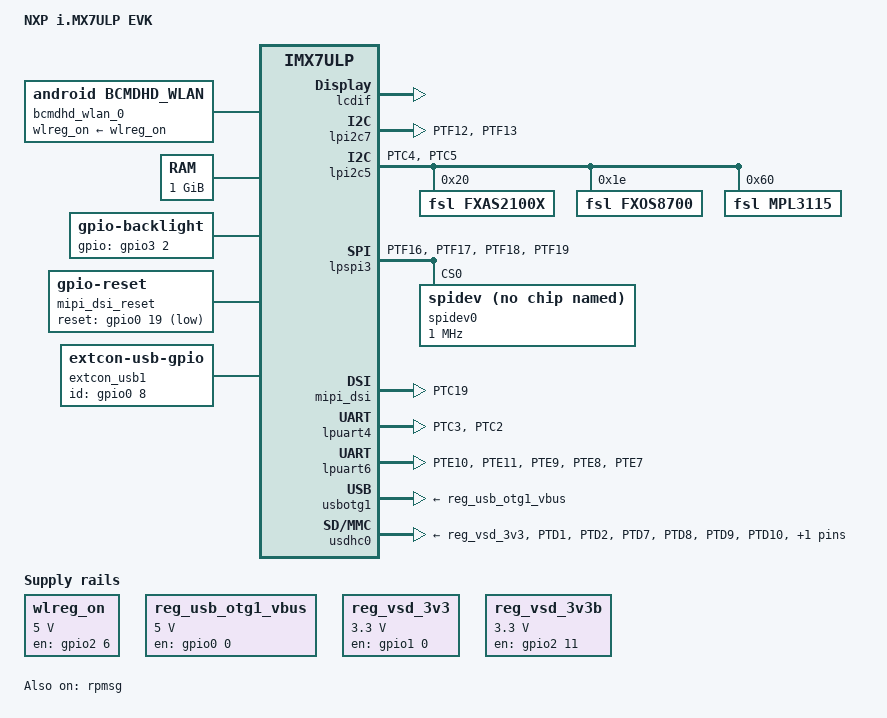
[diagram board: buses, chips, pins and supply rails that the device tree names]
/*
 * Copyright 2016 Freescale Semiconductor, Inc.
 *
 * This program is free software; you can redistribute it and/or modify
 * it under the terms of the GNU General Public License version 2 as
 * published by the Free Software Foundation.
 */

/dts-v1/;

#include "imx7ulp.dtsi"

/ {
	model = "NXP i.MX7ULP EVK";
	compatible = "fsl,imx7ulp-evk", "fsl,imx7ulp", "Generic DT based system";

	chosen {
		bootargs = "console=ttyLP0,115200 earlycon=lpuart32,0x402D0010,115200";
		stdout-path = &lpuart4;
	};

	bcmdhd_wlan_0: bcmdhd_wlan@0 {
		compatible = "android,bcmdhd_wlan";
		wlreg_on-supply = <&wlreg_on>;
		bcmdhd_fw = "/lib/firmware/bcm/1DX_BCM4343W/fw_bcmdhd.bin";
		bcmdhd_nv = "/lib/firmware/bcm/1DX_BCM4343W/bcmdhd.1DX.SDIO.cal";
	};

	memory {
		device_type = "memory";
		reg = <0x60000000 0x40000000>;
	};

	backlight {
		compatible = "gpio-backlight";
		pinctrl-names = "default";
		pinctrl-0 = <&pinctrl_backlight>;
		gpios = <&gpio3 2 GPIO_ACTIVE_HIGH>;
		default-on;
		status = "okay";
	};

	mipi_dsi_reset: mipi-dsi-reset {
		compatible = "gpio-reset";
		reset-gpios = <&gpio0 19 GPIO_ACTIVE_LOW>;
		reset-delay-us = <1000>;
		#reset-cells = <0>;
	};

	regulators {
		compatible = "simple-bus";
		#address-cells = <1>;
		#size-cells = <0>;

		wlreg_on: fixedregulator@100 {
			compatible = "regulator-fixed";
			regulator-min-microvolt = <5000000>;
			regulator-max-microvolt = <5000000>;
			regulator-name = "wlreg_on";
			gpio = <&gpio2 6 GPIO_ACTIVE_HIGH>;
			startup-delay-us = <100>;
			enable-active-high;
		};

		reg_usb_otg1_vbus: regulator@0 {
			compatible = "regulator-fixed";
			reg = <0>;
			pinctrl-names = "default";
			pinctrl-0 = <&pinctrl_usb_otg1>;
			regulator-name = "usb_otg1_vbus";
			regulator-min-microvolt = <5000000>;
			regulator-max-microvolt = <5000000>;
			gpio = <&gpio0 0 GPIO_ACTIVE_HIGH>;
			enable-active-high;
		};

		reg_vsd_3v3: regulator@1 {
			compatible = "regulator-fixed";
			reg = <1>;
			regulator-name = "VSD_3V3";
			regulator-min-microvolt = <3300000>;
			regulator-max-microvolt = <3300000>;
			gpio = <&gpio1 0 GPIO_ACTIVE_HIGH>;
			enable-active-high;
		};

		reg_vsd_3v3b: regulator@2 {
			compatible = "regulator-fixed";
			reg = <2>;
			regulator-name = "VSD_3V3B";
			regulator-min-microvolt = <3300000>;
			regulator-max-microvolt = <3300000>;
			gpio = <&gpio2 11 GPIO_ACTIVE_HIGH>;
			enable-active-high;
		};
	};

	extcon_usb1: extcon_usb1 {
		compatible = "linux,extcon-usb-gpio";
		id-gpio = <&gpio0 8 GPIO_ACTIVE_HIGH>;
		pinctrl-names = "default";
		pinctrl-0 = <&pinctrl_extcon_usb1>;
	};

	pf1550-rpmsg {
		compatible = "fsl,pf1550-rpmsg";
		sw1_reg: SW1 {
				regulator-name = "SW1";
				regulator-min-microvolt = <600000>;
				regulator-max-microvolt = <1387500>;
				regulator-boot-on;
				regulator-always-on;
		};

		sw2_reg: SW2 {
				regulator-name = "SW2";
				regulator-min-microvolt = <600000>;
				regulator-max-microvolt = <1387500>;
				regulator-boot-on;
				regulator-always-on;
		};

		sw3_reg: SW3 {
				regulator-name = "SW3";
				regulator-min-microvolt = <1800000>;
				regulator-max-microvolt = <3300000>;
				regulator-boot-on;
				regulator-always-on;
		};

		vref_reg: VREFDDR {
				regulator-name = "VREFDDR";
				regulator-min-microvolt = <1200000>;
				regulator-max-microvolt = <1200000>;
				regulator-boot-on;
				regulator-always-on;
		};

		vldo1_reg: LDO1 {
				regulator-name = "LDO1";
				regulator-min-microvolt = <750000>;
				regulator-max-microvolt = <3300000>;
				regulator-always-on;
		};

		vldo2_reg: LDO2 {
				regulator-name = "LDO2";
				regulator-min-microvolt = <1800000>;
				regulator-max-microvolt = <3300000>;
				regulator-always-on;
		};

		vldo3_reg: LDO3 {
				regulator-name = "LDO3";
				regulator-min-microvolt = <750000>;
				regulator-max-microvolt = <3300000>;
				regulator-always-on;
		};
	};
};

&iomuxc1 {
	pinctrl-names = "default";
	pinctrl-0 = <&pinctrl_hog_1>;

	imx7ulp-evk {
		pinctrl_hog_1: hoggrp-1 {
			fsl,pins = <
				ULP1_PAD_PTC10__PTC10		0x30100		/* USDHC0 CD */
				ULP1_PAD_PTC1__PTC1		0x20100
				ULP1_PAD_PTD0__PTD0		0x30100		/* USDHC0 RST */
				ULP1_PAD_PTE13__PTE13		0x30103		/* USDHC1 CD */
				ULP1_PAD_PTE12__PTE12		0x30103		/* USDHC1 WP */
				ULP1_PAD_PTE14__SDHC1_VS	0x843		/* USDHC1 VSEL */
			>;
		};

		pinctrl_backlight: backlight_grp {
			fsl,pins = <
				ULP1_PAD_PTF2__PTF2		0x20100
			>;
		};

		pinctrl_lpi2c5: lpi2c5grp {
			fsl,pins = <
				ULP1_PAD_PTC4__LPI2C5_SCL       0x527
				ULP1_PAD_PTC5__LPI2C5_SDA       0x527
			>;
		};

		pinctrl_mipi_dsi_reset: mipi_dsi_reset_grp {
			fsl,pins = <
				ULP1_PAD_PTC19__PTC19		0x20103
			>;
		};

		pinctrl_lpuart4: lpuart4grp {
			fsl,pins = <
				ULP1_PAD_PTC3__LPUART4_RX	0x400
				ULP1_PAD_PTC2__LPUART4_TX	0x400
			>;
		};

		pinctrl_lpuart6: lpuart6grp {
			fsl,pins = <
				ULP1_PAD_PTE10__LPUART6_TX	0x400
				ULP1_PAD_PTE11__LPUART6_RX	0x400
				ULP1_PAD_PTE9__LPUART6_RTS_B	0x400
				ULP1_PAD_PTE8__LPUART6_CTS_B	0x400
				ULP1_PAD_PTE7__PTE7		0x00 /* BT_REG_ON */
			>;
		};

		pinctrl_lpuart7: lpuart7grp {
			fsl,pins = <
				ULP1_PAD_PTF14__LPUART7_TX	0x400
				ULP1_PAD_PTF15__LPUART7_RX	0x400
				ULP1_PAD_PTF13__LPUART7_RTS_B	0x400
				ULP1_PAD_PTF12__LPUART7_CTS_B	0x400
			>;
		};

		pinctrl_usdhc0: usdhc0grp {
			fsl,pins = <
				ULP1_PAD_PTD1__SDHC0_CMD	0x843
				ULP1_PAD_PTD2__SDHC0_CLK	0x10843
				ULP1_PAD_PTD7__SDHC0_D3		0x843
				ULP1_PAD_PTD8__SDHC0_D2		0x843
				ULP1_PAD_PTD9__SDHC0_D1		0x843
				ULP1_PAD_PTD10__SDHC0_D0	0x843
			>;
		};

		pinctrl_usdhc0_8bit: usdhc0grp_8bit {
			fsl,pins = <
				ULP1_PAD_PTD1__SDHC0_CMD	0x843
				ULP1_PAD_PTD2__SDHC0_CLK	0x843
				ULP1_PAD_PTD3__SDHC0_D7		0x843
				ULP1_PAD_PTD4__SDHC0_D6		0x843
				ULP1_PAD_PTD5__SDHC0_D5		0x843
				ULP1_PAD_PTD6__SDHC0_D4		0x843
				ULP1_PAD_PTD7__SDHC0_D3		0x843
				ULP1_PAD_PTD8__SDHC0_D2		0x843
				ULP1_PAD_PTD9__SDHC0_D1		0x843
				ULP1_PAD_PTD10__SDHC0_D0	0x843
			>;
		};

		pinctrl_lpi2c7: lpi2c7grp {
			fsl,pins = <
				ULP1_PAD_PTF12__LPI2C7_SCL	0x527
				ULP1_PAD_PTF13__LPI2C7_SDA	0x527
			>;
		};

		pinctrl_lpspi3: lpspi3grp {
			fsl,pins = <
				ULP1_PAD_PTF16__LPSPI3_SIN      0x300
				ULP1_PAD_PTF17__LPSPI3_SOUT     0x300
				ULP1_PAD_PTF18__LPSPI3_SCK      0x300
				ULP1_PAD_PTF19__LPSPI3_PCS0     0x300
			>;
		};

		pinctrl_usb_otg1: usbotg1grp {
			fsl,pins = <
				ULP1_PAD_PTC0__PTC0		0x30100
			>;
		};

		pinctrl_extcon_usb1: extcon1grp {
			fsl,pins = <
				ULP1_PAD_PTC8__PTC8		0x30103
			>;
		};

		pinctrl_usdhc1: usdhc1grp {
			fsl,pins = <
				ULP1_PAD_PTE3__SDHC1_CMD	0x843
				ULP1_PAD_PTE2__SDHC1_CLK	0x843
				ULP1_PAD_PTE1__SDHC1_D0		0x843
				ULP1_PAD_PTE0__SDHC1_D1		0x843
				ULP1_PAD_PTE5__SDHC1_D2		0x843
				ULP1_PAD_PTE4__SDHC1_D3		0x843
			>;
		};

		pinctrl_usdhc1_rst: usdhc1grp_rst {
			fsl,pins = <
				ULP1_PAD_PTE11__PTE11			0x30100	/* USDHC1 RST */
			>;
		};

		pinctrl_wifi: wifigrp {
			fsl,pins = <
				ULP1_PAD_PTE6__PTE6		0x43 /* WL_REG_ON */
			>;
		};
	};
};

&lcdif {
	status = "okay";
	disp-dev = "mipi_dsi_northwest";
	display = <&display0>;

	display0: display {
		bits-per-pixel = <16>;
		bus-width = <24>;

		display-timings {
			native-mode = <&timing0>;
			timing0: timing0 {
			clock-frequency = <9200000>;
			hactive = <480>;
			vactive = <272>;
			hfront-porch = <8>;
			hback-porch = <4>;
			hsync-len = <41>;
			vback-porch = <2>;
			vfront-porch = <4>;
			vsync-len = <10>;

			hsync-active = <0>;
			vsync-active = <0>;
			de-active = <1>;
			pixelclk-active = <0>;
			};
		};
	};
};

&lpi2c7 {
	#address-cells = <1>;
	#size-cells = <0>;
	pinctrl-names = "default";
	pinctrl-0 = <&pinctrl_lpi2c7>;
};

&lpi2c5 {
	#address-cells = <1>;
	#size-cells = <0>;
	pinctrl-names = "default";
	pinctrl-0 = <&pinctrl_lpi2c5>;
	status = "okay";

	fxas2100x@20 {
		compatible = "fsl,fxas2100x";
		reg = <0x20>;
	};

	fxos8700@1e {
		compatible = "fsl,fxos8700";
		reg = <0x1e>;
	};

	mpl3115@60 {
		compatible = "fsl,mpl3115";
		reg = <0x60>;
	};
};

&lpspi3 {
	#address-cells = <1>;
	#size-cells = <0>;
	pinctrl-names = "default";
	pinctrl-0 = <&pinctrl_lpspi3>;
	status = "okay";

	spidev0: spi@0 {
		reg = <0>;
		compatible = "rohm,dh2228fv";
		spi-max-frequency = <1000000>;
	};
};

&mipi_dsi {
	pinctrl-names = "default";
	pinctrl-0 = <&pinctrl_mipi_dsi_reset>;
	lcd_panel = "TRULY-WVGA-TFT3P5581E";
	resets = <&mipi_dsi_reset>;
	status = "okay";
};

&lpuart4 { /* console */
	pinctrl-names = "default";
	pinctrl-0 = <&pinctrl_lpuart4>;
	status = "okay";
};

&lpuart6 { /* BT */
	pinctrl-names = "default";
	pinctrl-0 = <&pinctrl_lpuart6>;
	status = "okay";
};

&lpuart7 { /* Uart test */
	pinctrl-names = "default";
	pinctrl-0 = <&pinctrl_lpuart7>;
	status = "disabled";
};

&rpmsg{
	status = "okay";
};

&usbotg1 {
	vbus-supply = <&reg_usb_otg1_vbus>;
	extcon = <0>, <&extcon_usb1>;
	srp-disable;
	hnp-disable;
	adp-disable;
	status = "okay";
};

&usdhc0 {
	pinctrl-names = "default", "state_100mhz", "state_200mhz", "sleep";
	pinctrl-0 = <&pinctrl_usdhc0>;
	pinctrl-1 = <&pinctrl_usdhc0>;
	pinctrl-2 = <&pinctrl_usdhc0>;
	pinctrl-3 = <&pinctrl_usdhc0>;
	cd-gpios = <&gpio0 10 GPIO_ACTIVE_LOW>;
	vmmc-supply = <&reg_vsd_3v3>;
	vqmmc-supply = <&vldo2_reg>;
	status = "okay";
};
